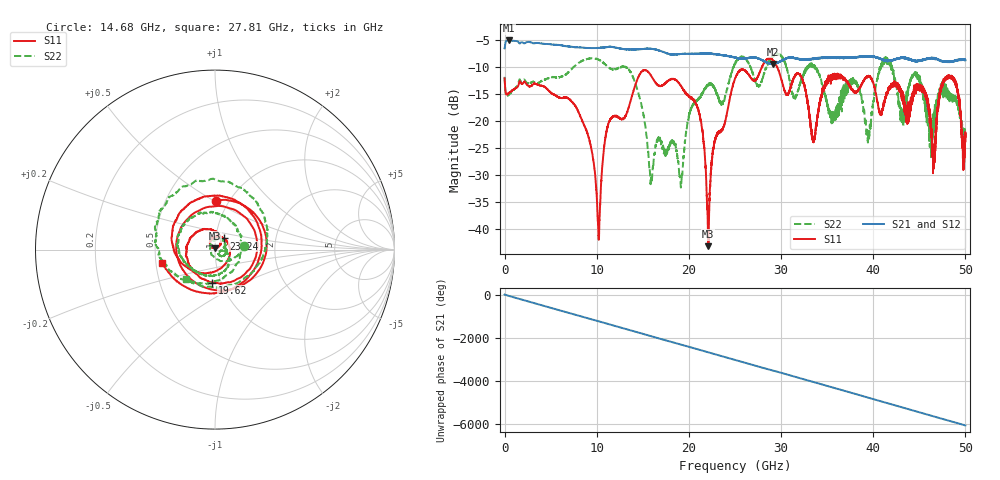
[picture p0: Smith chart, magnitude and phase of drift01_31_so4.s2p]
!Created with skrf (http://scikit-rf.org).
# Hz S RI R 50.0
!freq ReS11 ImS11 ReS21 ImS21 ReS12 ImS12 ReS22 ImS22
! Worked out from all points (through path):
!   10001 points, 300 kHz to 50 GHz, reference 50 ohm
!   highest |S21| = -5.06 dB at 425.3 MHz (marker M1); lowest = -9.4 dB at 29.08 GHz (marker M2)
!   group delay of S21, straight-line fit = 336 ps
!   lowest |S11| = -43.1 dB at 22.09 GHz (marker M3), VSWR 1.01, Z = 49.9 + j0.685 ohm
!   |S11| at or under -10 dB: start of sweep to 27.91 GHz; 29.59 GHz to end of sweep
!   |S22| runs from -32.3 to -7.5 dB; largest |S21 - S12| = 0.013
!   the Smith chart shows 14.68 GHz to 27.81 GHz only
!   S11 on the Smith chart (normalised r, x): 14.68 GHz: 0.87, +0.51; 19.62 GHz: 0.91, -0.35; 23.24 GHz: 1.09, +0.14; 27.81 GHz: 0.54, -0.09
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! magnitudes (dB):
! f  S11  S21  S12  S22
! 300 kHz  -12.1  -6.5  -6.6  -11.8
! 425.3 MHz  -14.8  -5.1  -5.1  -15.1
! 8.335 GHz  -19.5  -6.4  -6.4  -8.9
! 10.2 GHz  -41.4  -6.5  -6.4  -8.6
! 11.23 GHz  -20.7  -6.3  -6.3  -9.9
! 14.68 GHz  -11.3  -6.7  -6.7  -15.8
! 15.88 GHz  -11.5  -6.6  -6.6  -31.1
! 16.67 GHz  -13.4  -6.9  -6.8  -23.2
! 19.62 GHz  -14.7  -7.5  -7.5  -23.1
! 21.22 GHz  -19.3  -7.5  -7.5  -15.6
! 22.09 GHz  -43.1  -7.5  -7.5  -13.3
! 23.24 GHz  -22.1  -7.7  -7.7  -15.7
! 25 GHz  -12.1  -8.2  -8.2  -9.4
! 27.81 GHz  -10.4  -8.6  -8.6  -12.7
! 29.08 GHz  -8.6  -9.4  -9.4  -8.0
! 33.34 GHz  -22.7  -8.5  -8.5  -9.6
! 39.47 GHz  -11.6  -8.1  -8.1  -22.6
! 41.67 GHz  -13.8  -8.8  -8.8  -9.1
! 45.36 GHz  -13.7  -8.7  -8.7  -14.5
! 46.55 GHz  -26.6  -8.3  -8.3  -19.4
! 48.53 GHz  -12.0  -8.9  -8.9  -15.4
! 50 GHz  -22.9  -8.7  -8.7  -23.2
